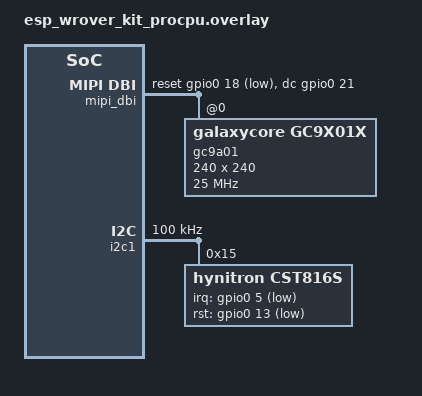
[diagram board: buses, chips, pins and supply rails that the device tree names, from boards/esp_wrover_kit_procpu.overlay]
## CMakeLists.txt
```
cmake_minimum_required(VERSION 3.13.1)
find_package(Zephyr REQUIRED HINTS $ENV{ZEPHYR_BASE})

project(app LANGUAGES C)

FILE(GLOB_RECURSE app_sources src/*.c)
target_sources(app PRIVATE ${app_sources})
```

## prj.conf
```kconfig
CONFIG_DISPLAY=y
CONFIG_DISPLAY_INIT_PRIORITY=85
CONFIG_DISPLAY_LOG_LEVEL_ERR=y

CONFIG_LOG=y
CONFIG_SHELL=y

CONFIG_LVGL=y
CONFIG_LV_USE_LOG=y
CONFIG_LV_USE_LABEL=y
CONFIG_LV_USE_ARC=y
CONFIG_LV_USE_MONKEY=y
CONFIG_LV_USE_SNAPSHOT=y
CONFIG_LV_FONT_MONTSERRAT_14=y
CONFIG_LV_FONT_MONTSERRAT_48=y
CONFIG_INPUT=y
CONFIG_LV_Z_POINTER_INPUT=y

CONFIG_RTC=y
CONFIG_ENTROPY_GENERATOR=y

CONFIG_RTC_EMUL=y

CONFIG_SPI=y
CONFIG_LV_Z_MEM_POOL_SIZE=6534300
CONFIG_LV_Z_SHELL=y
CONFIG_MAIN_STACK_SIZE=4096
CONFIG_INPUT_CST816S_INTERRUPT=n
```

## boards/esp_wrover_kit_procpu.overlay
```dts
#include <zephyr/dt-bindings/display/panel.h>

/ {
	chosen {
		zephyr,display = &gc9a01;
		zephyr,touch = &cst816s;
	};

	lvgl_pointer {
		compatible = "zephyr,lvgl-pointer-input";
		input = <&cst816s>;
	};
	
	/*
	blue - MISO - 25
	yellow - MOSI - 23
	orange - CLK - 19
	green - CS - 22
	white - DC - 21
	purple - RST - 18
	brown - BL - +
	*/

	mipi_dbi {
		compatible = "zephyr,mipi-dbi-spi";
		dc-gpios = <&gpio0 21 GPIO_ACTIVE_HIGH>;
		reset-gpios = <&gpio0 18 GPIO_ACTIVE_LOW>;
		spi-dev = <&spi3>;
		write-only;
		#address-cells = <1>;
		#size-cells = <0>;

		gc9a01: gc9a01@0 {
			status = "okay";
			compatible = "galaxycore,gc9x01x";
			reg = <0>;
			mipi-max-frequency = <25000000>;
			pixel-format = <PANEL_PIXEL_FORMAT_RGB_565>;
			display-inversion;
			width = <240>;
			height = <240>;
		};
	};
};

/*
	gray - SDA - 21
	blue - SCL - 22
	yellow - INT/IRQ - 5
	purple - RST - 13
*/

&i2c1 {
	status ="okay";
	clock-frequency = <I2C_BITRATE_STANDARD>;
	pinctrl-0 = <&i2c0_default>;
	pinctrl-names = "default";

	cst816s: cst816s@15 {
		status = "okay";
		compatible = "hynitron,cst816s";
		reg = <0x15>;
		irq-gpios = <&gpio0 5 (GPIO_PULL_UP | GPIO_ACTIVE_LOW)>;
		rst-gpios = <&gpio0 13 GPIO_ACTIVE_LOW>;
	};
};
```

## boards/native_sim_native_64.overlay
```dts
/ {
	lvgl_displays: my-displays {
		compatible = "zephyr,displays";
		displays = <&sdl_dc &sdl_dc2 &sdl_dc3>;
		status = "okay";
	};

	sdl_dc {
		title = "Main";
		width = <240>;
		height = <240>;
		status = "okay";
	};

	sdl_dc3: sdl-dc3 {
		compatible = "zephyr,sdl-dc";
		title = "Main 2";
		width = <240>;
		height = <240>;
		status = "okay";
	};

	input_sdl_touch3: input-sdl-touch3 {
		compatible = "zephyr,input-sdl-touch";
		display = <&sdl_dc3>;
	};

	lvgl_pointer3 {
		compatible = "zephyr,lvgl-pointer-input";
		input = <&input_sdl_touch3>;
		display = <&sdl_dc3>;
		status = "okay";
	};

	input_sdl_touch: input-sdl-touch {
		compatible = "zephyr,input-sdl-touch";
		display = <&sdl_dc>;
	};

	lvgl_pointer {
		compatible = "zephyr,lvgl-pointer-input";
		input = <&input_sdl_touch>;
		display = <&sdl_dc>;
		status = "okay";
	};

	sdl_dc2: sdl-dc2 {
		compatible = "zephyr,sdl-dc";
		title = "Debug";
		width = <600>;
		height = <800>;
		status = "okay";
	};

	input_sdl_touch2: input-sdl-touch2 {
		compatible = "zephyr,input-sdl-touch";
		display = <&sdl_dc2>;
	};

	lvgl_pointer2 {
		compatible = "zephyr,lvgl-pointer-input";
		input = <&input_sdl_touch2>;
		display = <&sdl_dc2>;
		status = "okay";
	};
};
```

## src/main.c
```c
#include <zephyr/kernel.h>
#include <zephyr/device.h>
#include <zephyr/devicetree.h>

#include <zephyr/drivers/display.h>
#include <zephyr/drivers/rtc.h>

#include <stdio.h>
#include <time.h>

#define LOG_LEVEL CONFIG_LOG_DEFAULT_LEVEL
#include <zephyr/logging/log.h>
LOG_MODULE_REGISTER(app);

#include <lvgl.h>
#include <lvgl_zephyr.h>

#include "app.h"
#include "apps/apps.h"
#include "activity_manager.h"

#if !DT_HAS_COMPAT_STATUS_OKAY(zephyr_displays)
#error Could not find "zephyr,displays" compatible node in DT
#endif

#define ENUMERATE_DISPLAY_DEVS(n) displays[n] = DEVICE_DT_GET(DT_ZEPHYR_DISPLAY(n));

void lv_run(const struct device** displays, size_t size) {
	uint32_t sleep;

	lv_timer_handler();
	for (size_t i = 0; i < size; i++) {
		display_blanking_off(displays[i]);
	}

	while (1) {
		sleep = lv_timer_handler();
		k_msleep(MIN(sleep, INT32_MAX));
	}
}

void init_rtc_time(struct rtc_time *rtc_time) {
	const char* date = __DATE__;
	const char* time = __TIME__;
	char month[4];
	int day, year;
	int month_num = 0;
	int hour, minute, second;
	struct tm time_info;

	sscanf(date, "%3s %d %d", month, &day, &year);

	if (strcmp(month, "Jan") == 0) month_num = 0;
	else if (strcmp(month, "Feb") == 0) month_num = 1;
	else if (strcmp(month, "Mar") == 0) month_num = 2;
	else if (strcmp(month, "Apr") == 0) month_num = 3;
	else if (strcmp(month, "May") == 0) month_num = 4;
	else if (strcmp(month, "Jun") == 0) month_num = 5;
	else if (strcmp(month, "Jul") == 0) month_num = 6;
	else if (strcmp(month, "Aug") == 0) month_num = 7;
	else if (strcmp(month, "Sep") == 0) month_num = 8;
	else if (strcmp(month, "Oct") == 0) month_num = 9;
	else if (strcmp(month, "Nov") == 0) month_num = 10;
	else if (strcmp(month, "Dec") == 0) month_num = 11;

	sscanf(time, "%d:%d:%d", &hour, &minute, &second);

	time_info.tm_year = rtc_time->tm_year;
	time_info.tm_mon = rtc_time->tm_mon;
	time_info.tm_mday = rtc_time->tm_mday;
	time_info.tm_hour = rtc_time->tm_hour;
	time_info.tm_min = rtc_time->tm_min;
	time_info.tm_sec = rtc_time->tm_sec;
	time_info.tm_isdst = -1;
	mktime(&time_info);

	rtc_time->tm_sec = second;
	rtc_time->tm_min = minute;
	rtc_time->tm_hour = hour;
	rtc_time->tm_mday = day;
	rtc_time->tm_mon = month_num;
	rtc_time->tm_year = year - 1900;
	rtc_time->tm_nsec = 0;
	rtc_time->tm_wday = time_info.tm_wday;
	rtc_time->tm_yday = time_info.tm_yday;
	rtc_time->tm_isdst = time_info.tm_isdst;
}

int init_rtc(const struct device* rtc) {
	struct rtc_time time;

	if (!device_is_ready(rtc)) {
		LOG_ERR("RTC device not ready!");
		return -EIO;
	}

	if (rtc_get_time(rtc, &time) != 0) {
		init_rtc_time(&time);
		if (rtc_set_time(rtc, &time) != 0) {
			LOG_ERR("RTC device time cannot be set.");
			return -EIO;
		}
	}

	return 0;
}

int init_displays(const struct device** displays, size_t size, lv_display_t** lv_displays) {
	lv_display_t* d = NULL;

	for (size_t i = 0; i < size; i++) {
		if (!device_is_ready(displays[i])) {
			LOG_ERR("Display device %d is not ready.", i);
			return -EIO;
		}

		d = lv_display_get_next(d);
		if (d == NULL) {
			LOG_ERR("Invalid LV display %d object.", i);
			return -EIO;
		}
		
		// FIXME: user data crashes for some reason on lv_timer_handler()...
		lv_display_set_driver_data(d, NULL);
		lv_displays[size-1 - i] = d;
	}

	lv_display_set_default(lv_displays[0]);
	return 0;
}

int init_devices(const struct device** displays, size_t size, lv_display_t** lv_displays,
		const struct device* rtc) {
	int ret = 0;
	
	ret = init_displays(displays, size, lv_displays);
	ret = init_rtc(rtc);
	
	return ret;
}

int start_activities(shd_act_man_ctx_t* manager, lv_display_t** displays, size_t size) {
	int ret = 0;
	
	for (size_t i = 0; i < size; i++) {
		ret = shd_act_man_home_launch(manager, displays[i]);
		if (ret != 0) {
			LOG_ERR("Couldn't launch CATEGORY_HOME activity!");
		}
	}
	
	return ret;
}

int main(void)
{
	const struct device* displays[DT_ZEPHYR_DISPLAYS_COUNT];
	lv_display_t* lv_displays[DT_ZEPHYR_DISPLAYS_COUNT];

	const struct device* rtc = DEVICE_DT_GET(DT_ALIAS(rtc));

	shd_app_t* app_list[] = {
		&shd_launcher,
		&shd_clock,

		&shd_debug,
		&shd_dummy,
	};
	shd_apps_t apps = {
		.list = app_list,
		.size = sizeof(app_list)/sizeof(shd_app_t*)
	};

	shd_act_man_ctx_t* manager = shd_act_man_create(&apps);

	FOR_EACH(ENUMERATE_DISPLAY_DEVS, (), LV_DISPLAYS_IDX_LIST);
	if (init_devices(displays, DT_ZEPHYR_DISPLAYS_COUNT, lv_displays, rtc) != 0) {
		LOG_ERR("Devices init failed!");
	}
	
	if (start_activities(manager, lv_displays, DT_ZEPHYR_DISPLAYS_COUNT) != 0) {
		LOG_ERR("Failed to start activities!");
	}
	
	lv_run(displays, DT_ZEPHYR_DISPLAYS_COUNT);

	shd_act_man_destroy(manager);
}
```

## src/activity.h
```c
#pragma once

typedef struct shd_intent_filter_node_ts shd_intent_filter_node_t;
typedef struct shd_act_ctx_ts shd_act_ctx_t;

typedef void (*shd_act_func_t)(shd_act_ctx_t* ctx);

typedef struct shd_act_t {
	char* id;
	shd_intent_filter_node_t* intent_filters;
	
	shd_act_func_t on_create;
	shd_act_func_t on_destroy;

	shd_act_func_t on_start;
	shd_act_func_t on_restart;
	shd_act_func_t on_stop;

	shd_act_func_t on_pause;
	shd_act_func_t on_resume;
} shd_act_t;

typedef struct shd_act_node_ts shd_act_node_t;
struct shd_act_node_ts {
	shd_act_t* activity;
	shd_act_node_t* next;
};
```

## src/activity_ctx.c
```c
#include "activity_ctx.h"
#include "activity_manager.h"

#include "lv_utils.h"

#include <errno.h>
#include <stdio.h>

int shd_act_ctx_take_snapshot(shd_act_ctx_t* ctx) {
	if (ctx->snapshot != NULL) lv_draw_buf_destroy(ctx->snapshot);

	ctx->snapshot = lv_snapshot_take(ctx->screen, LV_COLOR_FORMAT_ARGB8888);
	return ctx->snapshot == NULL ? -ENOSR : 0;
}
int shd_act_ctx_screen_create(shd_act_ctx_t* ctx) {
	lv_obj_t* screen = lv_screen_create(lv_display_or_default(ctx->display));

	if (screen == NULL) {
		return -ENOSR;
	} else {
		ctx->screen = screen;
	}
	
	return 0;
}
int shd_act_ctx_screen_destroy(shd_act_ctx_t* ctx) {
	if (shd_act_man_act_ctx_display_current_find(ctx) == NULL) {
		lv_obj_delete(ctx->screen);
		ctx->screen = NULL;
	} else return -EBUSY;

	return 0;
}

int shd_act_ctx_resume(shd_act_ctx_t* ctx) {
	shd_act_t* activity = ctx->activity;
	
	if (ctx->state != RESUMED) {
		if (activity->on_resume != NULL) activity->on_resume(ctx);
		ctx->state = RESUMED;
	}

	return 0;
}
int shd_act_ctx_pause(shd_act_ctx_t* ctx) {
	shd_act_t* activity = ctx->activity;

	if (ctx->state != STARTED_PAUSED) {
		shd_act_ctx_take_snapshot(ctx);
		// TODO: handle if we can't take snapshot?
		// FIXME: start pruning snapshots or smt to avoid running out of memory
		
		if (activity->on_pause != NULL) activity->on_pause(ctx);
		ctx->state = STARTED_PAUSED;
	}

	return 0;
}
int shd_act_ctx_start(shd_act_ctx_t* ctx) {
	int ret = 0;
	shd_act_t* activity = ctx->activity;
	
	if (ctx->state != STARTED_PAUSED) {
		ret = shd_act_ctx_screen_create(ctx);

		if (ret == 0) {
			if (activity->on_start != NULL) activity->on_start(ctx);
			ctx->state = STARTED_PAUSED;
		}
	}

	return ret;
}
int shd_act_ctx_stop(shd_act_ctx_t* ctx) {
	int ret = 0;
	shd_act_t* activity = ctx->activity;

	if (ctx->state != CREATED_STOPPED) {
		ret = shd_act_ctx_screen_destroy(ctx);

		if (ret == 0) {
			if (activity->on_stop != NULL) activity->on_stop(ctx);
			ctx->state = CREATED_STOPPED;
		}
	}

	return ret;
}
int shd_act_ctx_create(shd_act_ctx_t* ctx) {
	shd_act_t* activity = ctx->activity;

	if (ctx->state != CREATED_STOPPED) {
		if (activity->on_create != NULL) activity->on_create(ctx);
		ctx->state = CREATED_STOPPED;
	}

	return 0;
}
int shd_act_ctx_destroy(shd_act_ctx_t* ctx) {
	shd_act_t* activity = ctx->activity;

	if (ctx->state != INITIALIZED_DESTROYED) {
		if (activity->on_destroy != NULL) activity->on_destroy(ctx);
		ctx->state = INITIALIZED_DESTROYED;
	}

	return 0;
}
int shd_act_ctx_state_transition(shd_act_ctx_t* ctx, shd_act_state_t target) {
	int ret = 0;

	switch (ctx->state) {
		case INITIALIZED_DESTROYED:
			switch (target) {
				case INITIALIZED_DESTROYED: break;
				case CREATED_STOPPED:
					ret = shd_act_ctx_create(ctx);
					break;
				case STARTED_PAUSED:
					ret = shd_act_ctx_create(ctx);
					if (ret == 0) ret = shd_act_ctx_start(ctx);
					break;
				case RESUMED:
					ret = shd_act_ctx_create(ctx);
					if (ret == 0) {
						ret = shd_act_ctx_start(ctx);
						if (ret == 0) {
							ret = shd_act_ctx_resume(ctx);
						} else {
							ret = shd_act_ctx_destroy(ctx);
						}
					}
					break;
				default:
					ret = -ENOTSUP;
					break;
			}
			break;
		case CREATED_STOPPED:
			switch (target) {
				case INITIALIZED_DESTROYED: 
					ret = shd_act_ctx_destroy(ctx);
					break;
				case CREATED_STOPPED: break;
				case STARTED_PAUSED:
					ret = shd_act_ctx_start(ctx);
					break;
				case RESUMED:
					ret = shd_act_ctx_start(ctx);
					if (ret == 0) ret = shd_act_ctx_resume(ctx);
					break;
				default:
					ret = -ENOTSUP;
					break;
			}
			break;
		case STARTED_PAUSED:
			switch (target) {
				case INITIALIZED_DESTROYED: 
					ret = shd_act_ctx_stop(ctx);
					if (ret == 0) ret = shd_act_ctx_destroy(ctx);
					break;
				case CREATED_STOPPED: 
					ret = shd_act_ctx_stop(ctx);
					break;
				case STARTED_PAUSED: break;
				case RESUMED:
					ret = shd_act_ctx_resume(ctx);
					break;
				default:
					ret = -ENOTSUP;
					break;
			}
			break;
		case RESUMED:
			switch (target) {
				case INITIALIZED_DESTROYED: 
					ret = shd_act_ctx_pause(ctx);
					if (ret == 0) {
						ret = shd_act_ctx_stop(ctx);
						if (ret == 0) ret = shd_act_ctx_destroy(ctx);
					}
					break;
				case CREATED_STOPPED: 
					ret = shd_act_ctx_pause(ctx);
					if (ret == 0) ret = shd_act_ctx_stop(ctx);
					break;
				case STARTED_PAUSED:
					ret = shd_act_ctx_pause(ctx);
					break;
				case RESUMED: break;
				default:
					ret = -ENOTSUP;
					break;
			}
			break;
		default:
			ret = -ENOTSUP;
			break;
	}

	return ret;
}
```

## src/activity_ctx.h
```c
#pragma once

#include <lvgl.h>

#include "app.h"
#include "activity.h"

typedef void (*shd_act_cb_t)(void* user, int result, void* data);
typedef void (*shd_act_result_cb_t)(int result, void* data, void* user);

typedef struct shd_act_man_ctx_t shd_act_man_ctx_t;

typedef enum {
	INITIALIZED_DESTROYED,
	CREATED_STOPPED,
	STARTED_PAUSED,
	RESUMED,
} shd_act_state_t;

typedef struct shd_act_ctx_ts shd_act_ctx_t;
struct shd_act_ctx_ts {
	shd_act_man_ctx_t* manager;

	lv_display_t* display;
	lv_obj_t* screen;
	lv_draw_buf_t* snapshot;
	
	shd_app_t* app;
	shd_act_t* activity;
	shd_act_ctx_t* prev;
	shd_act_state_t state;

	shd_act_cb_t cb;
	void* user;

	shd_act_result_cb_t result_cb;
	void* return_user;

	void* input;
	void* activity_user;
};

int shd_act_ctx_take_snapshot(shd_act_ctx_t* ctx);

int shd_act_ctx_screen_create(shd_act_ctx_t* ctx);
int shd_act_ctx_screen_destroy(shd_act_ctx_t* ctx);

int shd_act_ctx_create(shd_act_ctx_t* ctx);
int shd_act_ctx_destroy(shd_act_ctx_t* ctx);

int shd_act_ctx_start(shd_act_ctx_t* ctx);
int shd_act_ctx_stop(shd_act_ctx_t* ctx);

int shd_act_ctx_resume(shd_act_ctx_t* ctx);
int shd_act_ctx_pause(shd_act_ctx_t* ctx);

int shd_act_ctx_state_transition(shd_act_ctx_t* ctx, shd_act_state_t target);
```

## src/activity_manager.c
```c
#include "activity_manager.h"

#include "lv_utils.h"

#include <stdlib.h>
#include <stdio.h>
#include <errno.h>

#include <string.h>

#include "intent_filter.h"
#include "./errno.h"

int shd_act_man_send_event(shd_act_man_ctx_t* manager, shd_act_man_event_code_t code) {
	shd_act_man_event_cb_node_t* node = manager->cbs;
	shd_act_man_event_t* event = malloc(sizeof(shd_act_man_event_t));
	
	if (event == NULL) {
		return -ENOSR;
	} else {
		while (node != NULL) {
			event->original_target = manager;
			event->current_target = event->original_target;
			event->code = node->code;
			event->param = NULL;
			event->user = node->user;

			if (node->code == code) node->cb(event);
			node = node->prev;
		}

		free(event);
	}
	
	return 0;
}	

int shd_act_man_act_ctx_display_current_add(shd_act_ctx_t* ctx) {
	shd_act_man_ctx_t* manager = ctx->manager;

	shd_display_act_ctx_entry_node_t* node = manager->current_activities;
	shd_act_ctx_t* node_ctx;
	lv_display_t* node_display;

	lv_display_t* display = lv_display_or_default(ctx->display);
	
	while (node != NULL) {
		node_ctx = node->value->ctx;
		node_display = node->value->display;
	
		if (node_ctx == ctx) {
			node->value->display = display;
			return 0;
		} else if (node_display == display) {
			node->value->ctx = ctx;
			return 0;
		}

		node = node->prev;
	}

	node = malloc(sizeof(shd_display_act_ctx_entry_node_t));

	if (node == NULL) {
		return -ENOSR;
	} else {
		node->value = malloc(sizeof(shd_display_act_ctx_entry_t));
		if (node->value == NULL) {
			return -ENOSR;
		} else {
			node->value->display = display;
			node->value->ctx = ctx;

			node->prev = manager->current_activities;
			manager->current_activities = node;
		}
	}

	return 0;
}

// TODO: sooo, is this needed? where?
void shd_act_man_act_ctx_display_current_remove(shd_act_ctx_t* ctx) {
	shd_act_man_ctx_t* manager = ctx->manager;

	shd_display_act_ctx_entry_node_t* node = manager->current_activities;
	shd_display_act_ctx_entry_node_t* next = NULL;
	shd_display_act_ctx_entry_node_t* prev;

	shd_act_ctx_t* node_ctx;
	lv_display_t* node_display;

	while (node != NULL) {
		node_ctx = node->value->ctx;
		node_display = node->value->display;
		prev = node->prev;
	
		if (node_ctx == ctx) {
			free(node);
			
			if (next == NULL) manager->current_activities = prev; else next->prev = prev;
			return;
		}

		next = node;
		node = node->prev;
	}
}
lv_display_t* shd_act_man_act_ctx_display_current_find(shd_act_ctx_t* ctx) {
	shd_act_man_ctx_t* manager = ctx->manager;
	shd_display_act_ctx_entry_node_t* node = manager->current_activities;
	
	while (node != NULL) {
		if (node->value->ctx == ctx) {
			return node->value->display;
		}

		node = node->prev;
	}

	return NULL;
}
shd_act_ctx_t* shd_act_man_act_ctx_display_current_get(shd_act_man_ctx_t* manager, lv_display_t* display) {
	shd_display_act_ctx_entry_node_t* node = manager->current_activities;
	
	display = lv_display_or_default(display);
	while (node != NULL) {
		if (node->value->display == display) {
			return node->value->ctx;
		}

		node = node->prev;
	}

	return NULL;
}
bool shd_act_man_act_ctx_display_current_is(shd_act_man_ctx_t* manager, lv_display_t* display, shd_act_ctx_t* ctx) {
	return shd_act_man_act_ctx_display_current_get(manager, display) == ctx;
}

void shd_act_man_act_finished_cb(shd_act_ctx_t* ctx, int result, void* data) {
	shd_act_man_ctx_t* manager = ctx->manager;
	lv_display_t* display = lv_display_or_default(ctx->display);

	shd_act_result_cb_t cb = ctx->result_cb;
	void* user = ctx->return_user;
	
	if (shd_act_man_act_ctx_display_current_is(manager, display, ctx)) if (shd_act_man_back_go(manager, display) != 0) shd_act_man_home_go(manager, display);

	shd_act_ctx_state_transition(ctx, INITIALIZED_DESTROYED);
	if (cb != NULL) cb(result, data, user);
}
shd_act_ctx_t* shd_act_man_act_ctx_create(shd_act_man_ctx_t* manager, shd_app_t* app, shd_act_t* activity, lv_display_t* display, shd_act_result_cb_t cb, void* input, void* user) {
	shd_act_ctx_t* ctx = malloc(sizeof(shd_act_ctx_t));
	shd_act_ctx_node_t* new = malloc(sizeof(shd_act_ctx_node_t));
	
	if (new == NULL || ctx == NULL) {
		return NULL;
	} else {
		ctx->manager = manager;

		ctx->display = display;
		ctx->screen = NULL;
		ctx->snapshot = NULL;

		ctx->app = app;
		ctx->activity = activity;
		ctx->prev = shd_act_man_act_ctx_display_current_get(manager, display);
		ctx->state = INITIALIZED_DESTROYED;

		ctx->cb = (void (*)(void*, int, void*))shd_act_man_act_finished_cb;
		ctx->user = ctx; // TODO: rethink, do we really need it as a user parameter?

		ctx->result_cb = cb;
		ctx->return_user = user;

		ctx->input = input;
		ctx->activity_user = NULL;

		new->prev = manager->activities;
		new->value = ctx;
		manager->activities = new;

		shd_act_man_send_event(manager, SHD_EVENT_ACT_MAN_CHANGED);
	}
	
	return ctx;
}
int shd_act_man_act_ctx_destroy(shd_act_ctx_t* ctx) {
	// FIXME: if someone's prev destroyed it crashes (solution: tasks rewrite)
	int ret = 0;

	shd_act_man_ctx_t* manager = ctx->manager;
	shd_act_ctx_node_t* node = manager->activities;
	shd_act_ctx_node_t* last_node = NULL;

	ret = shd_act_ctx_state_transition(ctx, INITIALIZED_DESTROYED);
	
	if (ret == 0) {
		while (node != NULL) {
			if (node->value == ctx) {
				if (last_node == NULL) {
					manager->activities = node->prev;
				} else {
					last_node->prev = node->prev;
				}

				free(node);
				shd_act_man_send_event(manager, SHD_EVENT_ACT_MAN_CHANGED);
				break;
			}

			last_node = node;
			node = node->prev;
		}

		free(ctx);
	}

	return ret;
}

shd_act_man_ctx_t* shd_act_man_create(shd_apps_t* apps) {
	shd_act_man_ctx_t* manager = malloc(sizeof(shd_act_man_ctx_t)); 

	manager->apps = apps;

	manager->current_activities = NULL;
	manager->cbs = NULL;
	manager->activities = NULL;

	return manager;
}
void shd_act_man_act_ctx_cleanup(shd_act_man_ctx_t* manager) {
	shd_act_ctx_node_t* node = manager->activities;
	shd_act_ctx_node_t* prev;

	while (node != NULL) {
		prev = node->prev;

		free(node->value);
		free(node);

		node = prev;
	}
}
void shd_act_man_act_ctx_current_cleanup(shd_act_man_ctx_t* manager) {
	shd_display_act_ctx_entry_node_t* node = manager->current_activities;
	shd_display_act_ctx_entry_node_t* prev;

	while (node != NULL) {
		prev = node->prev;

		free(node->value);
		free(node);

		node = prev;
	}
}
void shd_act_man_destroy(shd_act_man_ctx_t* manager) {
	shd_act_man_act_ctx_cleanup(manager);
	shd_act_man_act_ctx_current_cleanup(manager);
	free(manager);
}

shd_act_ctx_t* shd_act_man_act_ctx_find(shd_act_man_ctx_t* manager, shd_act_t* activity, lv_display_t* display, bool any_display) {
	shd_act_ctx_node_t* node = manager->activities;
	shd_act_ctx_t* ctx;

	display = lv_display_or_default(display);

	while (node != NULL) {
		ctx = node->value;

		if (ctx->activity == activity && (display == ctx->display || any_display)) return ctx;

		node = node->prev;
	}

	return NULL;
}

int shd_act_man_act_ctx_show(shd_act_ctx_t* ctx) {
	int ret = 0;

	if (ctx->state >= STARTED_PAUSED) {
		ret = shd_act_man_act_ctx_display_current_add(ctx);

		if (ret == 0) lv_screen_load(ctx->screen);
	}

	return ret;
}

int shd_act_man_act_ctx_launch(shd_act_ctx_t* ctx, lv_display_t* display) {
	int ret = -1;
	shd_act_man_ctx_t* manager = ctx->manager;
	shd_act_ctx_t* current;
	lv_display_t* current_display = shd_act_man_act_ctx_display_current_find(ctx);
	
	display = lv_display_or_default(display);
	current = shd_act_man_act_ctx_display_current_get(manager, display);

	if (current == ctx) return 0;

	if (current_display != NULL) {
		ret = shd_act_man_back_go(manager, current_display);
		
		if (ret == 0) {
			ctx->prev = current;
			ctx->display = display;
			ret = shd_act_man_act_ctx_show(ctx);
		}
	}
	
	if (current != NULL) shd_act_ctx_state_transition(current, STARTED_PAUSED);

	ctx->prev = current;
	ctx->display = display;
	ret = shd_act_ctx_state_transition(ctx, RESUMED);
	if (ret == 0) ret = shd_act_man_act_ctx_show(ctx);

	if (current != NULL) {
		if (ret == 0) shd_act_ctx_state_transition(current, CREATED_STOPPED); else shd_act_ctx_state_transition(current, RESUMED);
	}
	return ret;
}
int shd_act_man_act_ctx_kill(shd_act_ctx_t* ctx) {
	int ret = 0;
	shd_act_man_ctx_t* manager = ctx->manager;
	lv_display_t* display = ctx->display;
	
	if (ctx == shd_act_man_act_ctx_display_current_get(manager, display)) ret = shd_act_man_back_go(manager, display);
	if (ret == 0) ret = shd_act_man_act_ctx_destroy(ctx);

	return ret;
}

int shd_act_man_act_launch(shd_act_man_ctx_t* manager, shd_app_t* app, shd_act_t* activity, lv_display_t* display, shd_act_result_cb_t cb, void* input, void* user) {
	int ret = -1;
	shd_act_ctx_t* ctx = NULL; 

	display = lv_display_or_default(display);

	if (shd_act_has_action_is(activity, ACTION_MAIN)) {
		ctx = shd_act_man_act_ctx_find(manager, activity, display, !shd_act_in_category_is(activity, CATEGORY_HOME));
		
		if (ctx != NULL) {
			ctx->input = input;
			ctx->return_user = user;
		}

	}
	if (ctx == NULL) ctx = shd_act_man_act_ctx_create(manager, app, activity, display, cb, input, user);

	if (ctx == NULL) ret = -ENOSYS; else ret = shd_act_man_act_ctx_launch(ctx, display);
	return ret;
}

int shd_act_man_act_launch_from_intent_filter_result(shd_act_man_ctx_t* manager, lv_display_t* display, shd_intent_filter_result_t* intent_filter_result,
		shd_act_result_cb_t cb, void* input, void* user) {
	return shd_act_man_act_launch(manager, intent_filter_result->app, intent_filter_result->activity, lv_display_or_default(display), cb, input, user);
}

int shd_act_man_act_launch_from_intent(shd_act_man_ctx_t* manager, lv_display_t* display, shd_intent_t* intent, shd_act_result_cb_t cb) {
	int ret = 0;

	shd_intent_filter_result_node_t* intent_filter_result_node = shd_apps_intent_filter_search(manager->apps, (shd_intent_filter_func_t)shd_intent_filter_match_is, intent);

	if (intent_filter_result_node == NULL) return -SHD_EFAILED;

	// TODO: allow user to pick if multiple activities match
	ret = shd_act_man_act_launch_from_intent_filter_result(manager, lv_display_or_default(display), intent_filter_result_node->value, cb, intent->input, intent->user);

	shd_intent_filter_results_destroy(intent_filter_result_node); // TODO: if we decide to iterate here then do the freeing there
	return ret;
}

int shd_act_man_debug_launch(shd_act_man_ctx_t* manager, lv_display_t* display) {
	shd_intent_t intent;
	
	intent.action = ACTION_MAIN;
	intent.category = CATEGORY_DEBUG;
	intent.activity = NULL;
	
	return shd_act_man_act_launch_from_intent(manager, lv_display_or_default(display), &intent, NULL);
}
int shd_act_man_home_launch(shd_act_man_ctx_t* manager, lv_display_t* display) {
	shd_intent_t intent;
	
	intent.action = ACTION_MAIN;
	intent.category = CATEGORY_HOME;
	intent.activity = NULL;

	return shd_act_man_act_launch_from_intent(manager, lv_display_or_default(display), &intent, NULL);
}

int shd_act_man_back_go(shd_act_man_ctx_t* manager, lv_display_t* display) {
	int ret = -1;
	
	shd_act_ctx_t* current;
	shd_act_ctx_t* prev;

	display = lv_display_or_default(display);
	current = shd_act_man_act_ctx_display_current_get(manager, display);
	
	if (current != NULL) {
		prev = current->prev;
		
		if (prev == NULL || shd_act_man_act_ctx_display_current_find(prev) != NULL) {
			ret = shd_act_man_home_go(manager, display);
		} else {
			ret = shd_act_ctx_state_transition(current, STARTED_PAUSED);
			if (ret == 0) {
				ret = shd_act_ctx_state_transition(prev, RESUMED);
				if (ret == 0) ret = shd_act_man_act_ctx_show(prev);

				if (ret != 0) ret = shd_act_man_home_go(manager, display);
				shd_act_ctx_state_transition(current, CREATED_STOPPED); 
			}
		}
	}
	
	return ret;
}
int shd_act_man_home_go(shd_act_man_ctx_t* manager, lv_display_t* display) {
	return shd_act_man_home_launch(manager, lv_display_or_default(display));
}

int shd_act_man_remove_event(shd_act_man_ctx_t* manager, shd_act_man_event_cb_node_t* target) {
	shd_act_man_event_cb_node_t* node = manager->cbs;
	shd_act_man_event_cb_node_t* next = NULL;

	while (node != NULL) {
		if (node == target) {
			if (next != NULL) next->prev = node->prev;
			manager->cbs = next;
			free(node);
			return 0;
		}
	}

	return -SHD_EFAILED;
}

shd_act_man_event_cb_node_t* shd_act_man_add_event_cb(shd_act_man_ctx_t* manager, 
		shd_act_man_event_cb_t cb, shd_act_man_event_code_t code, void* user) {
	shd_act_man_event_cb_node_t* node = malloc(sizeof(shd_act_man_event_cb_node_t));
	
	if (node == NULL) return NULL; else {
		node->code = code;

		node->cb = cb;
		node->user = user;

		node->prev = manager->cbs;
		manager->cbs = node;
	}
	
	return node;
}
```

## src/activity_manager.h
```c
#pragma once

#include <lvgl.h>

#include "app.h"
#include "activity_ctx.h"

#include "intent.h"

typedef struct shd_act_ctx_node_ts shd_act_ctx_node_t;
struct shd_act_ctx_node_ts {
	shd_act_ctx_t* value;
	shd_act_ctx_node_t* prev;
};

typedef struct {
	lv_display_t* display;
	shd_act_ctx_t* ctx;
} shd_display_act_ctx_entry_t;

typedef struct shd_display_act_ctx_entry_node_ts shd_display_act_ctx_entry_node_t;
struct shd_display_act_ctx_entry_node_ts {
	shd_display_act_ctx_entry_t* value;
	shd_display_act_ctx_entry_node_t* prev;
};

typedef enum {
	SHD_EVENT_ACT_MAN_CHANGED
} shd_act_man_event_code_t;

typedef struct {
	void* current_target;
	void* original_target;

	shd_act_man_event_code_t code;

	void* user;
	void* param;
} shd_act_man_event_t;

typedef void(*shd_act_man_event_cb_t)(shd_act_man_event_t*);

typedef struct shd_act_man_event_cb_node_ts shd_act_man_event_cb_node_t;
struct shd_act_man_event_cb_node_ts {
	shd_act_man_event_code_t code;

	shd_act_man_event_cb_t cb;
	void* user;

	shd_act_man_event_cb_node_t* prev;
};

typedef struct shd_act_man_ctx_t {
	shd_apps_t* apps;

	shd_display_act_ctx_entry_node_t* current_activities;

	shd_act_man_event_cb_node_t* cbs;
	shd_act_ctx_node_t* activities;
} shd_act_man_ctx_t;

lv_display_t* shd_act_man_act_ctx_display_current_find(shd_act_ctx_t* ctx);
shd_act_ctx_t* shd_act_man_act_ctx_display_current_get(shd_act_man_ctx_t* manager, lv_display_t* display);

shd_act_man_ctx_t* shd_act_man_create(shd_apps_t* apps);
void shd_act_man_destroy(shd_act_man_ctx_t* manager);

int shd_act_man_act_ctx_launch(shd_act_ctx_t* ctx, lv_display_t* display);
int shd_act_man_act_ctx_kill(shd_act_ctx_t* ctx);

int shd_act_man_act_launch(shd_act_man_ctx_t* manager, shd_app_t* app, shd_act_t* activity, lv_display_t* display, shd_act_result_cb_t cb, void* input, void* user);
int shd_act_man_act_launch_from_intent(shd_act_man_ctx_t* manager, lv_display_t* display, shd_intent_t* intent, shd_act_result_cb_t cb);

int shd_act_man_home_launch(shd_act_man_ctx_t* manager, lv_display_t* display);
int shd_act_man_debug_launch(shd_act_man_ctx_t* manager, lv_display_t* display);

int shd_act_man_back_go(shd_act_man_ctx_t* manager, lv_display_t* display);
int shd_act_man_home_go(shd_act_man_ctx_t* manager, lv_display_t* display);

shd_act_man_event_cb_node_t* shd_act_man_add_event_cb(shd_act_man_ctx_t* manager, shd_act_man_event_cb_t cb, shd_act_man_event_code_t code, void* user);
int shd_act_man_remove_event(shd_act_man_ctx_t* manager, shd_act_man_event_cb_node_t* target);
```

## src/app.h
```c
#pragma once

#include "activity.h"

#include <stddef.h>

typedef struct {
	char* id;
	char* title;
	
	shd_act_node_t* activities;
} shd_app_t;

typedef struct shd_apps_t {
	shd_app_t** list;
	size_t size;
} shd_apps_t;
```

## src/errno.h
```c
#pragma once

#define SHD_EFAILED 1
```

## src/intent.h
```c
#pragma once

#include <stdint.h>
#include <zephyr/sys/util_macro.h>

#define ACTION_MAIN BIT64(0)

#define CATEGORY_LAUNCHER BIT64(0)
#define CATEGORY_DEFAULT BIT64(1)
#define CATEGORY_HOME BIT64(2)
#define CATEGORY_DEBUG BIT64(3)

typedef int64_t shd_action_t;
typedef int64_t shd_category_t;

typedef struct {
	char* activity;

	shd_action_t action;
	shd_category_t category;

	void* input;
	char* type;

	void* user;
} shd_intent_t;
```

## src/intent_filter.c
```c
#include "intent_filter.h"

#include <stdlib.h>
#include <stdio.h>
#include <string.h>

void shd_intent_filter_results_destroy(shd_intent_filter_result_node_t* node) {
	shd_intent_filter_result_node_t* next;

	while (node != NULL) {
		next = node->next;
		free(node->value);
		free(node);
		node = next;
	}
}
shd_intent_filter_result_node_t* shd_apps_intent_filter_search(shd_apps_t* apps, shd_intent_filter_func_t func, shd_intent_t* intent) {
	shd_act_node_t* activity_node;
	shd_act_t* activity;
	shd_app_t* app;

	shd_intent_filter_node_t* node;
	shd_intent_filter_t* intent_filter;

	bool ret = false;
	bool add = false;
	shd_intent_filter_result_node_t* final_node = NULL;
	shd_intent_filter_result_node_t* result_node = NULL;
	shd_intent_filter_result_t* result;

	for (size_t i = 0; i < apps->size; i++) {
		app = apps->list[i];
		activity_node = app->activities;
		
		while (activity_node != NULL) {
			activity = activity_node->activity;
			node = activity->intent_filters;

			while (node != NULL || intent->activity != NULL) {
				if (intent->activity != NULL) ret = strcmp(intent->activity, activity->id) == 0;
				
				if (node == NULL) {
					add = ret;
					if (!add) break;
				} else {
					intent_filter = node->intent_filter;
					add = func(intent_filter, app, intent) || ret;
					node = node->next;
				}

				if (add) {
					if (result_node == NULL) {
						result_node = malloc(sizeof(shd_intent_filter_result_node_t));
						final_node = result_node;
					} else {
						result_node->next = malloc(sizeof(shd_intent_filter_result_node_t));
						result_node = result_node->next;
					}
					
					if (result_node == NULL) {
						return NULL;
					} else {
						result_node->next = NULL;
						result_node->value = NULL;

						result = malloc(sizeof(shd_intent_filter_result_t));
						if (result == NULL) {
							return NULL;
						} else {
							result->app = app;
							result->activity = activity;
							result_node->value = result;

							if (ret) return final_node;
						}
					}
				}
			};

			activity_node = activity_node->next;
		};
	}
	
	return final_node;
}

bool shd_act_in_category_is(shd_act_t* activity, shd_category_t category) {
	shd_intent_filter_node_t* intent_filter_node = activity->intent_filters;
	shd_intent_filter_t* intent_filter;

	while (intent_filter_node != NULL) {
		intent_filter = intent_filter_node->intent_filter;
		
		if ((intent_filter->category & category) >= category) {
			return true;
		}

		intent_filter_node = intent_filter_node->next;
	}

	return false;
}
bool shd_act_has_action_is(shd_act_t* activity, shd_action_t action) {
	shd_intent_filter_node_t* intent_filter_node = activity->intent_filters;
	shd_intent_filter_t* intent_filter;

	while (intent_filter_node != NULL) {
		intent_filter = intent_filter_node->intent_filter;
		
		if ((intent_filter->action & action) > 0) {
			return true;
		}

		intent_filter_node = intent_filter_node->next;
	}

	return false;
}

bool shd_intent_filter_match_is(shd_intent_filter_t* intent_filter, shd_app_t* app, shd_intent_t* intent) {
	// TODO: data check
	if ((intent_filter->action & intent->action) > 0 && 
		(intent_filter->category & intent->category) >= intent->category) return true;	
	return false;
}
```

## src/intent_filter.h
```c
#pragma once

#include <stdbool.h>

#include "intent.h"
#include "app.h"
#include "activity.h"

typedef struct shd_intent_filter_ts shd_intent_filter_t;
struct shd_intent_filter_ts {
	shd_action_t action;
	shd_category_t category;

	char* type;
};

typedef struct shd_intent_filter_node_ts shd_intent_filter_node_t;
struct shd_intent_filter_node_ts {
	shd_intent_filter_t* intent_filter;
	shd_intent_filter_node_t* next;
};

typedef struct shd_intent_filter_result_t {
	shd_app_t* app;
	shd_act_t* activity;
} shd_intent_filter_result_t;

typedef struct shd_intent_filter_result_node_ts shd_intent_filter_result_node_t;
struct shd_intent_filter_result_node_ts {
	shd_intent_filter_result_t* value;
	shd_intent_filter_result_node_t* next;
};

typedef bool (*shd_intent_filter_func_t)(shd_intent_filter_t* intent_filter, shd_app_t* app, shd_intent_t* intent);

shd_intent_filter_result_node_t* shd_apps_intent_filter_search(shd_apps_t* apps, shd_intent_filter_func_t func, shd_intent_t* intent);
void shd_intent_filter_results_destroy(shd_intent_filter_result_node_t* node);

bool shd_act_in_category_is(shd_act_t* activity, shd_category_t category);
bool shd_act_has_action_is(shd_act_t* activity, shd_action_t action);

bool shd_intent_filter_match_is(shd_intent_filter_t* intent_filter, shd_app_t* app, shd_intent_t* intent);
```

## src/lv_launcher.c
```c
#include "lv_launcher.h"

#include <stdlib.h>
#include <stdio.h>

#include <lvgl.h>

#include "activity_manager.h"

void lv_launcher_entry_click_cb(lv_event_t *e) {
	lv_launcher_entry_ctx_t* ctx = (lv_launcher_entry_ctx_t*)lv_event_get_user_data(e);
	
	start_activity(ctx->app, ctx->activity, NULL, NULL);
}

void lv_launcher_entry_create(lv_launcher_entry_ctx_t* ctx) {
	lv_obj_t* cont = lv_menu_cont_create(ctx->root);
	lv_obj_t* btn = lv_button_create(cont);
	lv_obj_t* label = lv_label_create(btn);

	lv_obj_add_event_cb(btn, lv_launcher_entry_click_cb, LV_EVENT_CLICKED, ctx);
	lv_label_set_text(label, ctx->app->title);
}

void lv_launcher_main_entry(lv_obj_t* screen, activity_callback cb, void* user) {
	lv_obj_t* menu = lv_menu_create(screen);
	lv_obj_t* root = lv_menu_page_create(menu, NULL);
	lv_obj_t* error_label;

	lv_launcher_ctx_t* ctx = malloc(sizeof(lv_launcher_ctx_t));
	apps_t* apps = (apps_t*)user;
	
	intent_t intent;
	intent_filter_result_node_t* intent_filter_result_node;
	intent_filter_result_node_t* old_intent_filter_result_node;
	intent_filter_result_t* intent_filter_result;

	lv_launcher_entry_ctx_t* entry_ctx;
	app_t* app;
	activity_t* activity;
	
	lv_obj_set_user_data(screen, ctx);
	ctx->entries = NULL;

	lv_obj_set_size(menu, 
			lv_display_get_horizontal_resolution(NULL), 
			lv_display_get_vertical_resolution(NULL));
	lv_obj_center(menu);
	
	intent.action = ACTION_MAIN;
	intent.category = CATEGORY_LAUNCHER;
	intent_filter_result_node = search_intent_filters(apps, 
			(bool (*)(intent_filter_t*, void*))is_intent_filter_match, 
			&intent);

	if (intent_filter_result_node == NULL) {
		error_label = lv_label_create(screen);
		lv_obj_center(error_label);
		lv_label_set_text(error_label, "No launchable apps found!");
	} else {
		while (intent_filter_result_node != NULL) {
			intent_filter_result = &(intent_filter_result_node->intent_filter_result);
			app = intent_filter_result->app;
			activity = intent_filter_result->activity;
			old_intent_filter_result_node = intent_filter_result_node;
			intent_filter_result_node = intent_filter_result_node->next;
			free(intent_filter_result_node);

			entry_ctx = malloc(sizeof(lv_launcher_entry_ctx_t));
			entry_ctx->root = root;
			entry_ctx->app = app;
			entry_ctx->activity = activity;

			lv_launcher_entry_create(entry_ctx);
			
			if (ctx->entries == NULL) {
				ctx->entries = malloc(sizeof(lv_launcher_entry_ctx_node_t));
			} else {
				ctx->entries->next = malloc(sizeof(lv_launcher_entry_ctx_node_t));
				ctx->entries = ctx->entries->next;
			}
			ctx->entries->value = entry_ctx;
		};
	}

	lv_menu_set_page(menu, root); }

void lv_launcher_main_exit(lv_obj_t* screen) {
	lv_launcher_ctx_t* ctx = (lv_launcher_ctx_t*)lv_obj_get_user_data(screen);
	
	lv_launcher_entry_ctx_node_t* node = ctx->entries;
	lv_launcher_entry_ctx_node_t* next_node;

	while (node != NULL) {
		next_node = node->next;
		free(node);
		node = next_node;
	}

	free(ctx);
}

intent_filter_t lv_launcher_intent_filter = {
	.action = ACTION_MAIN,
	.category = CATEGORY_HOME
};
intent_filter_node_t lv_launcher_intent_filter_node = {
	.intent_filter = &lv_launcher_intent_filter, 
	.next = NULL
};
activity_t lv_launcher_main = {
	.id = "lv.launcher.main",
	.intent_filters = &lv_launcher_intent_filter_node,
	.entry = lv_launcher_main_entry,
	.exit = lv_launcher_main_exit
};
activity_node_t lv_launcher_activity_node = { 
	.activity = &lv_launcher_main, 
	.next = NULL 
};
app_t lv_launcher = {
	.id = "lv.launcher",
	.title = "Launcher",
	.activities = &lv_launcher_activity_node
};
```

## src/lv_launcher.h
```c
#pragma once

#include <lvgl.h>

#include "app.h"
#include "activity_manager.h"

extern app_t lv_launcher;

typedef struct lv_launcher_entry_ctx_t {
	lv_obj_t* root;

	app_t* app;
	activity_t* activity;
} lv_launcher_entry_ctx_t;

typedef struct lv_launcher_entry_ctx_node_ts lv_launcher_entry_ctx_node_t;
struct lv_launcher_entry_ctx_node_ts {
	lv_launcher_entry_ctx_t* value;
	lv_launcher_entry_ctx_node_t* next;
};

typedef struct lv_launcher_ctx_t {
	lv_launcher_entry_ctx_node_t* entries;
} lv_launcher_ctx_t;

void lv_launcher_main_entry(lv_obj_t* screen, activity_callback cb, void* user);
void lv_launcher_main_exit(lv_obj_t* screen);
```
